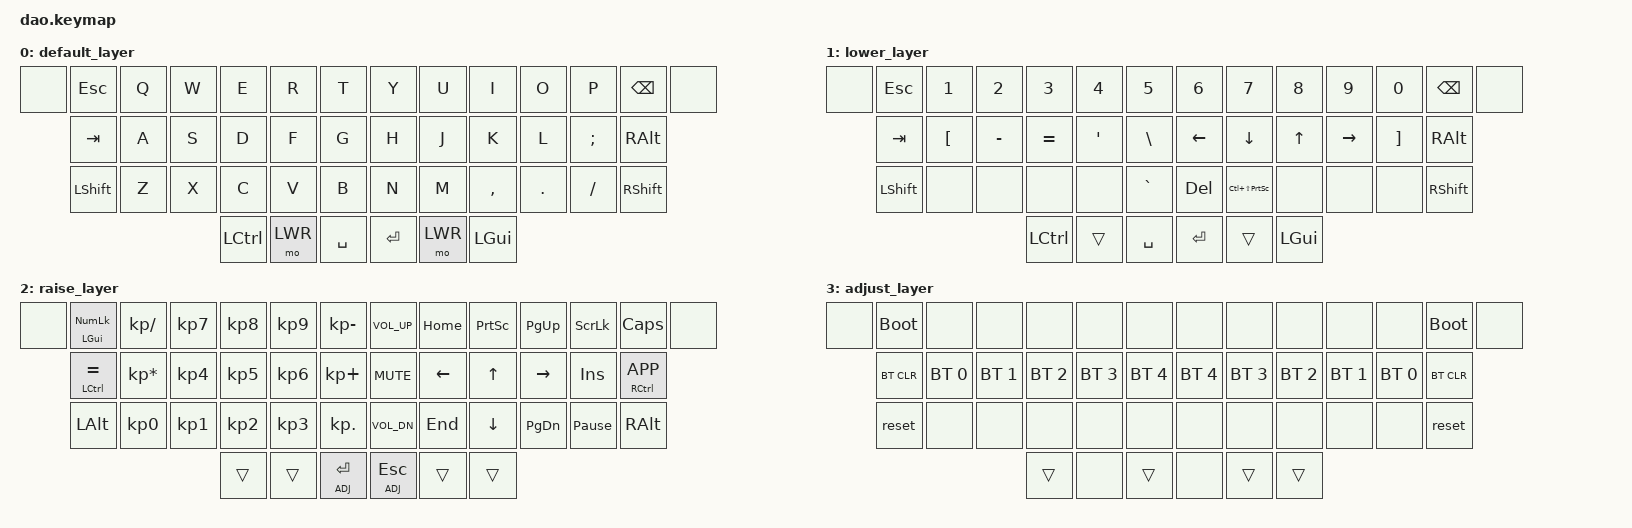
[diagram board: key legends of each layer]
/*
 * Copyright (c) 2021 Rafael Yumagulov
 *
 * SPDX-License-Identifier: MIT
 */

#include <behaviors.dtsi>
#include <dt-bindings/zmk/keys.h>
#include <dt-bindings/zmk/bt.h>

#define DEF 0
#define LWR 1
#define RSE 2
#define ADJ 3

&lt { quick_tap_ms = <200>; };
&mt { quick_tap_ms = <200>; };

/ {
        keymap {
                compatible = "zmk,keymap";

                default_layer {
                        bindings = <
  &none   &kp ESC           &kp Q   &kp W   &kp E         &kp R             &kp T         &kp Y         &kp U            &kp I         &kp O     &kp P      &kp BSPC  &none
          &kp TAB           &kp A   &kp S   &kp D         &kp F             &kp G         &kp H         &kp J            &kp K         &kp L     &kp SEMI   &kp RALT
          &kp LSHFT         &kp Z   &kp X   &kp C         &kp V             &kp B         &kp N         &kp M            &kp COMMA     &kp DOT   &kp FSLH   &kp RSHFT
                                            &kp LCTRL     &mo LWR           &kp SPACE     &kp RET       &mo LWR          &kp LGUI 
                        >;
                };
                lower_layer {
                        bindings = <
  &none   &kp ESC        &kp N1   &kp N2    &kp N3        &kp N4       &kp N5        &kp N6        &kp N7            &kp N8        &kp N9    &kp N0     &kp BSPC  &none
          &kp TAB        &kp LBKT &kp MINUS &kp EQUAL     &kp SQT      &kp BSLH      &kp LEFT      &kp DOWN          &kp UP        &kp RIGHT &kp RBKT   &kp RALT
          &kp LSHFT      &none    &none     &none         &none        &kp GRAVE     &kp DEL       &kp LC(LS(PSCRN)) &none         &none     &none      &kp RSHFT
                                            &kp LCTRL     &trans       &kp SPACE     &kp RET       &trans            &kp LGUI 
                        >;
                };

                raise_layer {
                        bindings = <
  &none   &mt LGUI KP_NUM   &kp KP_SLASH      &kp KP_N7   &kp KP_N8   &kp KP_N9   &kp KP_MINUS   &kp C_VOL_UP   &kp HOME   &kp PSCRN   &kp PG_UP   &kp SLCK          &kp CLCK           &none
          &mt LCTRL EQUAL   &kp KP_MULTIPLY   &kp KP_N4   &kp KP_N5   &kp KP_N6   &kp KP_PLUS    &kp C_MUTE     &kp LEFT   &kp UP      &kp RIGHT   &kp INS           &mt RCTRL  K_APP
          &kp LALT          &kp KP_N0         &kp KP_N1   &kp KP_N2   &kp KP_N3   &kp KP_DOT     &kp C_VOL_DN   &kp END    &kp DOWN    &kp PG_DN   &kp PAUSE_BREAK   &kp RALT
                                                          &trans      &trans      &lt ADJ RET    &lt ADJ ESC    &trans     &trans
                        >;
                };
                adjust_layer {
                        bindings = <
  &none   &bootloader   &none          &none          &none          &none          &none          &none          &none          &none          &none          &none          &bootloader   &none
          &bt BT_CLR    &bt BT_SEL 0   &bt BT_SEL 1   &bt BT_SEL 2   &bt BT_SEL 3   &bt BT_SEL 4   &bt BT_SEL 4   &bt BT_SEL 3   &bt BT_SEL 2   &bt BT_SEL 1   &bt BT_SEL 0   &bt BT_CLR
          &reset        &none          &none          &none          &none          &none          &none          &none          &none          &none          &none          &reset
                                                      &trans         &none          &trans         &none          &trans         &trans
                        >;
                };
        };
};
